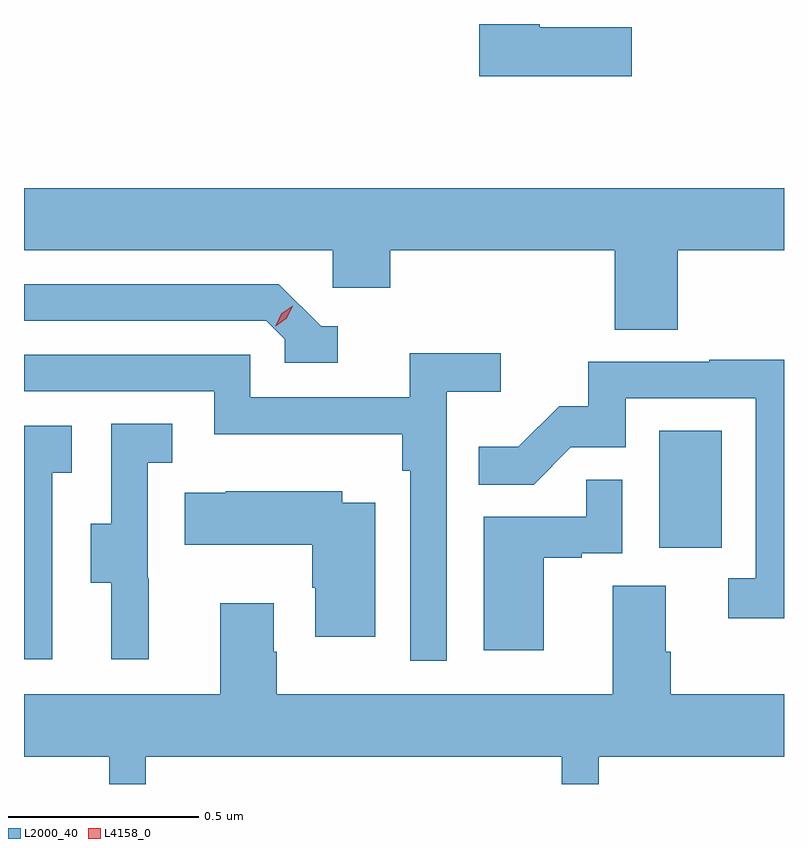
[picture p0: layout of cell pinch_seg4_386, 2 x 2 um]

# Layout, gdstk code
import gdstk
lib = gdstk.Library(unit=1e-6, precision=1e-09)
def R(c, l, rs):  # rectangles x0, y0, x1, y1
    for r in rs: c.add(gdstk.rectangle(r[:2], r[2:], *l))
def P(c, l, *ps):  # polygons
    for p in ps: c.add(gdstk.Polygon(p, *l))
L2000_40 = (2000, 40)
L4158_0 = (4158, 0)

pinch_seg4_386 = lib.new_cell('pinch_seg4_386')
R(pinch_seg4_386, L2000_40, [(1014.956,782.718,1015.12,783.025)])
P(pinch_seg4_386, L2000_40, [(1014.883,784.087),(1014.641,784.087),(1014.641,784.096),(1014.505,784.096),(1014.505,784.095),(1014.482,784.095),(1014.482,783.958),(1014.883,783.958)],
  [(1015.004,783.5),(1015.284,783.5),(1015.284,783.664),(1013.284,783.664),(1013.284,783.5),(1014.096,783.5),(1014.096,783.402),(1014.248,783.402),(1014.248,783.5),(1014.839,783.5),(1014.839,783.292),(1015.004,783.292)],
  [(1014.109,783.3),(1014.066,783.3),(1013.955,783.411),(1013.284,783.411),(1013.284,783.315),(1013.922,783.315),(1013.97,783.267),(1013.97,783.204),(1014.109,783.204)],
  [(1014.396,783.128),(1014.538,783.128),(1014.538,783.23),(1014.299,783.23),(1014.299,783.114),(1013.88,783.114),(1013.88,783.225),(1013.284,783.225),(1013.284,783.129),(1013.784,783.129),(1013.784,783.017),(1014.28,783.017),(1014.28,782.921),(1014.3,782.921),(1014.3,782.421),(1014.396,782.421)],
  [(1015.284,783.212),(1015.087,783.212),(1015.087,783.207),(1014.769,783.207),(1014.769,783.09),(1014.692,783.09),(1014.585,782.983),(1014.481,782.983),(1014.481,782.884),(1014.625,782.884),(1014.723,782.982),(1014.867,782.982),(1014.867,783.111),(1015.209,783.111),(1015.209,782.637),(1015.137,782.637),(1015.137,782.532),(1015.284,782.532)],
  [(1013.612,782.637),(1013.61,782.637),(1013.61,782.941),(1013.674,782.941),(1013.674,783.044),(1013.514,783.044),(1013.514,782.781),(1013.459,782.781),(1013.459,782.626),(1013.513,782.626),(1013.513,782.424),(1013.612,782.424)],
  [(1013.358,782.915),(1013.41,782.915),(1013.41,783.039),(1013.284,783.039),(1013.284,782.424),(1013.358,782.424)],
  [(1014.652,782.691),(1014.752,782.691),(1014.752,782.703),(1014.858,782.703),(1014.858,782.897),(1014.763,782.897),(1014.763,782.799),(1014.494,782.799),(1014.494,782.448),(1014.652,782.448)],
  [(1014.208,782.836),(1014.121,782.836),(1014.121,782.866),(1013.815,782.866),(1013.815,782.863),(1013.707,782.863),(1013.707,782.726),(1014.043,782.726),(1014.043,782.613),(1014.05,782.613),(1014.05,782.484),(1014.208,782.484)],
  [(1014.833,782.618),(1014.833,782.332),(1013.949,782.332),(1013.949,782.444),(1013.941,782.444),(1013.941,782.572),(1013.801,782.572),(1013.801,782.332),(1013.284,782.332),(1013.284,782.168),(1013.508,782.168),(1013.508,782.096),(1013.604,782.096),(1013.604,782.168),(1014.699,782.168),(1014.699,782.096),(1014.797,782.096),(1014.797,782.168),(1015.284,782.168),(1015.284,782.332),(1014.986,782.332),(1014.986,782.444),(1014.973,782.444),(1014.973,782.618)])
P(pinch_seg4_386, L4158_0, [(1013.946,783.301),(1013.946,783.302),(1013.961,783.334),(1013.991,783.355),(1013.991,783.355),(1013.991,783.354),(1013.976,783.322),(1013.946,783.301)])

lib.write_gds('pinch_seg4_386.gds')
